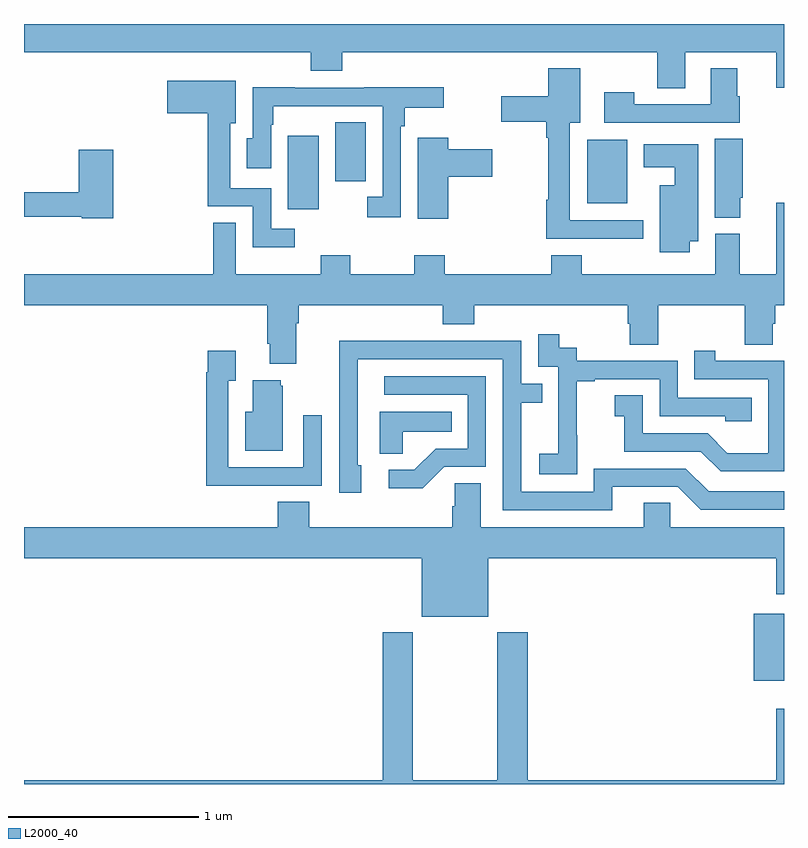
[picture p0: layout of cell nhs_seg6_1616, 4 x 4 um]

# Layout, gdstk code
import gdstk
lib = gdstk.Library(unit=1e-6, precision=1e-09)
def R(c, l, rs):  # rectangles x0, y0, x1, y1
    for r in rs: c.add(gdstk.rectangle(r[:2], r[2:], *l))
def P(c, l, *ps):  # polygons
    for p in ps: c.add(gdstk.Polygon(p, *l))
L2000_40 = (2000, 40)

nhs_seg6_1616 = lib.new_cell('nhs_seg6_1616')
R(nhs_seg6_1616, L2000_40, [(212.84,928.043,213,928.396), (210.389,930.524,210.55,930.913), (211.964,930.557,212.176,930.892), (210.638,930.672,210.799,930.983)])
P(nhs_seg6_1616, L2000_40, [(212.479,931.352),(212.96,931.352),(212.96,931.164),(213,931.164),(213,931.5),(209,931.5),(209,931.352),(210.509,931.352),(210.509,931.253),(210.674,931.253),(210.674,931.352),(212.332,931.352),(212.332,931.162),(212.479,931.162)],
  [(212.768,931.119),(212.755,931.119),(212.755,931.267),(212.615,931.267),(212.615,931.077),(212.211,931.077),(212.211,931.141),(212.055,931.141),(212.055,930.981),(212.768,930.981)],
  [(212.26,930.468),(211.873,930.468),(211.873,930.98),(211.927,930.98),(211.927,931.267),(211.76,931.267),(211.76,931.12),(211.512,931.12),(211.512,930.986),(211.748,930.986),(211.748,930.902),(211.76,930.902),(211.76,930.575),(211.748,930.575),(211.748,930.371),(212.26,930.371)],
  [(210.424,930.423),(210.3,930.423),(210.3,930.636),(210.085,930.636),(210.085,930.977),(210.115,930.977),(210.115,931.201),(209.754,931.201),(209.754,931.031),(209.967,931.031),(209.967,930.54),(210.204,930.54),(210.204,930.326),(210.424,930.326)],
  [(210.984,930.962),(211.004,930.962),(211.004,931.058),(211.21,931.058),(211.21,931.166),(210.791,931.166),(210.791,931.164),(210.425,931.164),(210.425,931.166),(210.204,931.166),(210.204,930.9),(210.173,930.9),(210.173,930.741),(210.3,930.741),(210.3,930.971),(210.313,930.971),(210.313,931.067),(210.542,931.067),(210.542,931.068),(210.888,931.068),(210.888,930.591),(210.807,930.591),(210.807,930.483),(210.984,930.483)],
  [(211.232,930.695),(211.465,930.695),(211.465,930.842),(211.232,930.842),(211.232,930.901),(211.073,930.901),(211.073,930.474),(211.232,930.474)],
  [(212.77,930.586),(212.783,930.586),(212.783,930.896),(212.636,930.896),(212.636,930.481),(212.77,930.481)],
  [(212.503,930.356),(212.548,930.356),(212.548,930.868),(212.261,930.868),(212.261,930.746),(212.426,930.746),(212.426,930.652),(212.345,930.652),(212.345,930.3),(212.503,930.3)],
  [(209.471,930.838),(209.288,930.838),(209.288,930.614),(209,930.614),(209,930.486),(209.304,930.486),(209.304,930.478),(209.471,930.478)],
  [(211.935,930.283),(211.775,930.283),(211.775,930.184),(211.214,930.184),(211.214,930.283),(211.054,930.283),(211.054,930.184),(210.717,930.184),(210.717,930.283),(210.562,930.283),(210.562,930.184),(210.115,930.184),(210.115,930.455),(209.997,930.455),(209.997,930.184),(209,930.184),(209,930.02),(210.281,930.02),(210.281,929.818),(210.293,929.818),(210.293,929.711),(210.433,929.711),(210.433,929.924),(210.446,929.924),(210.446,930.02),(211.205,930.02),(211.205,929.921),(211.37,929.921),(211.37,930.02),(212.177,930.02),(212.177,929.922),(212.189,929.922),(212.189,929.812),(212.337,929.812),(212.337,930.02),(212.794,930.02),(212.794,929.812),(212.941,929.812),(212.941,929.922),(212.954,929.922),(212.954,930.02),(213,930.02),(213,930.559),(212.96,930.559),(212.96,930.184),(212.767,930.184),(212.767,930.396),(212.639,930.396),(212.639,930.184),(211.935,930.184)],
  [(211.911,929.335),(211.91,929.335),(211.91,929.619),(212.005,929.619),(212.005,929.631),(212.346,929.631),(212.346,929.436),(212.691,929.436),(212.691,929.409),(212.831,929.409),(212.831,929.532),(212.442,929.532),(212.442,929.727),(211.908,929.727),(211.908,929.796),(211.816,929.796),(211.816,929.866),(211.707,929.866),(211.707,929.697),(211.812,929.697),(211.812,929.468),(211.811,929.468),(211.811,929.239),(211.713,929.239),(211.713,929.129),(211.911,929.129)],
  [(212.095,929.064),(212.442,929.064),(212.562,928.944),(213,928.944),(213,929.04),(212.604,929.04),(212.484,929.16),(211.998,929.16),(211.998,929.037),(211.617,929.037),(211.617,929.506),(211.727,929.506),(211.727,929.607),(211.617,929.607),(211.617,929.832),(211.121,929.832),(211.121,929.834),(210.658,929.834),(210.658,929.527),(210.66,929.527),(210.66,929.034),(210.775,929.034),(210.775,929.178),(210.756,929.178),(210.756,929.736),(211.521,929.736),(211.521,928.941),(212.095,928.941)],
  [(213,929.727),(212.638,929.727),(212.638,929.779),(212.527,929.779),(212.527,929.631),(212.916,929.631),(212.916,929.242),(212.702,929.242),(212.598,929.346),(212.256,929.346),(212.256,929.545),(212.109,929.545),(212.109,929.435),(212.158,929.435),(212.158,929.25),(212.561,929.25),(212.666,929.145),(213,929.145)],
  [(210.251,929.07),(210.567,929.07),(210.567,929.44),(210.471,929.44),(210.471,929.166),(210.075,929.166),(210.075,929.623),(210.115,929.623),(210.115,929.779),(209.967,929.779),(209.967,929.666),(209.959,929.666),(209.959,929.069),(210.251,929.069)],
  [(211.212,929.169),(211.431,929.169),(211.431,929.646),(210.897,929.646),(210.897,929.55),(211.335,929.55),(211.335,929.265),(211.166,929.265),(211.055,929.154),(210.921,929.154),(210.921,929.057),(211.099,929.057)],
  [(210.361,929.595),(210.35,929.595),(210.35,929.626),(210.203,929.626),(210.203,929.458),(210.164,929.458),(210.164,929.255),(210.361,929.255)],
  [(210.993,929.354),(211.25,929.354),(211.25,929.458),(210.872,929.458),(210.872,929.239),(210.993,929.239)],
  [(212.4,928.979),(212.261,928.979),(212.261,928.852),(211.405,928.852),(211.405,929.084),(211.266,929.084),(211.266,928.961),(211.253,928.961),(211.253,928.852),(210.5,928.852),(210.5,928.985),(210.335,928.985),(210.335,928.852),(209,928.852),(209,928.688),(211.094,928.688),(211.094,928.379),(211.444,928.379),(211.444,928.688),(212.96,928.688),(212.96,928.5),(213,928.5),(213,928.852),(212.4,928.852)],
  [(213,927.895),(212.96,927.895),(212.96,927.52),(211.652,927.52),(211.652,928.3),(211.492,928.3),(211.492,927.52),(211.047,927.52),(211.047,928.3),(210.887,928.3),(210.887,927.52),(209,927.52),(209,927.5),(213,927.5)])

lib.write_gds('nhs_seg6_1616.gds')
